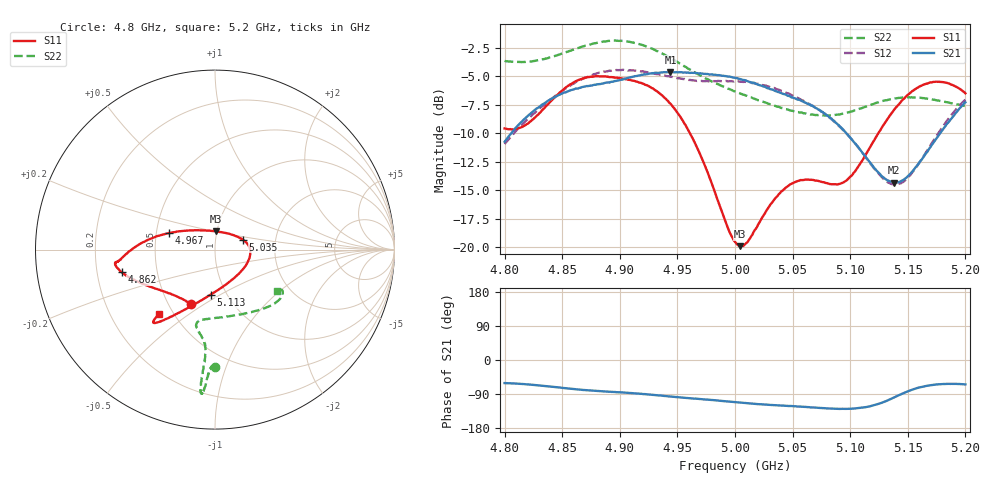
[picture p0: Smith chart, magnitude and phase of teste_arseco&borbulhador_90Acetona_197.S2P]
! Network Analyzer HP8722D
! Hewlett-Packard
! Data name: Linha & Wilkinson
! Saver's name: Rodrigo Anjos
! Comments: Teste da utilização de aquisição
! continua pelo VNA HP8722D
! Time and date: 17/4/2025 12:41
!  Frequency  S11  S21  S12  S22
# HZ  S  MA R 50
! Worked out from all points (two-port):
!   401 points, 4.8 GHz to 5.2 GHz, reference 50 ohm
!   highest |S21| = -4.62 dB at 4.944 GHz (marker M1); lowest = -14.3 dB at 5.138 GHz (marker M2)
!   |S21| within 3 dB of the highest: 4.831 GHz to 5.068 GHz (236.5 MHz wide, 4.78 % of centre); 5.196808 GHz to end of sweep
!   lowest |S11| = -19.9 dB at 5.004 GHz (marker M3), VSWR 1.23, Z = 49.6 + j10.1 ohm
!   |S11| at or under -10 dB: 4.961 GHz to 5.124 GHz (163.4 MHz wide, 3.24 % of centre)
!   |S22| runs from -8.5 to -1.9 dB; largest |S21 - S12| = 0.88
!   S11 on the Smith chart (normalised r, x): 4.8 GHz: 0.65, -0.44; 4.862 GHz: 0.31, -0.11; 4.967 GHz: 0.58, +0.12; 5.035 GHz: 1.35, +0.16; 5.113 GHz: 0.84, -0.45; 5.2 GHz: 0.42, -0.39
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4.8e9  0.3321 -113.8  0.2903 -60.9  0.2837 -175.1  0.6569 -89.9
4.819e9  0.3464 -133.8  0.3725 -64.1  0.3605 -173.7  0.6516 -91.5
4.862e9  0.5354 -166.3  0.4966 -77.1  0.5307 -177.0  0.7428 -93.8
4.867e9  0.5478 -168.3  0.5038 -78.6  0.5456 -178.0  0.7576 -93.9
4.902e9  0.5486 -173.0  0.5435 -85.6  0.5993 174.9  0.8032 -95.5
4.934e9  0.4756 -179.0  0.5822 -93.6  0.5748 171.8  0.7175 -96.0
4.944e9  0.426 176.3  0.5877 -96.4  0.5586 171.8  0.6761 -95.7
4.967e9  0.2748 160.5  0.5804 -102.2  0.5362 173.8  0.577 -95.2
5e9  0.1058 99.9  0.5541 -111.2  0.5365 176.2  0.4824 -99.4
5.004e9  0.1012 86.3  0.5474 -112.2  0.533 176.1  0.474 -100.4
5.012e9  0.1078 60.6  0.5322 -114.4  0.5282 175.8  0.4575 -102.2
5.035e9  0.1643 20.0  0.4846 -119.4  0.4971 174.5  0.4166 -103.7
5.05e9  0.191 4.9  0.4541 -122.0  0.4622 174.1  0.3966 -99.9
5.067e9  0.1977 -13.2  0.4177 -125.1  0.4188 173.6  0.3827 -91.1
5.093e9  0.1919 -57.6  0.3319 -128.9  0.3294 173.8  0.3849 -70.9
5.113e9  0.2525 -95.5  0.2506 -124.6  0.2501 179.9  0.4134 -55.2
5.134e9  0.375 -116.9  0.1949 -104.6  0.1915 -157.5  0.4447 -43.1
5.138e9  0.4005 -119.2  0.192 -98.9  0.1889 -151.0  0.4485 -41.3
5.151e9  0.4702 -125.0  0.2075 -81.6  0.2046 -131.0  0.4548 -36.5
5.17e9  0.5283 -129.4  0.2764 -66.4  0.2814 -112.5  0.4458 -32.1
5.184e9  0.5257 -130.7  0.348 -63.1  0.3592 -107.4  0.4326 -31.2
5.2e9  0.4736 -131.1  0.4322 -64.4  0.4438 -106.5  0.416 -33.5
